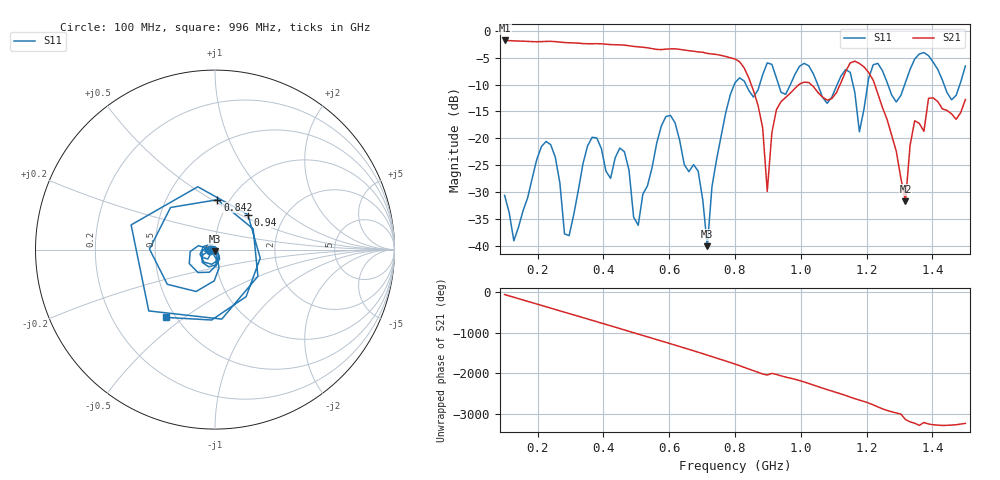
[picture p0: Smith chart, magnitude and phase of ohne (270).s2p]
! NanoVNA-App
! Date: 2025-09-25 14:22:54
! Start: 100MHz Stop: 1,5GHz Points: 101
! S-Parameter data: F S11 S21 S12 S22
# Hz S RI R 50
!  Frequency  S11_Real  S11_Imag  S21_Real  S21_Imag  S12_Real  S12_Imag  S22_Real  S22_Imag
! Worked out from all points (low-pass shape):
!   101 points, 100 MHz to 1.5 GHz, reference 50 ohm
!   highest |S21| = -1.79 dB at 100 MHz (marker M1); lowest = -31.8 dB at 1.318 GHz (marker M2)
!   |S21| within 3 dB of the highest: start of sweep to 772.7 MHz
!   lowest |S11| = -40.1 dB at 716 MHz (marker M3), VSWR 1.02, Z = 49.8 - j0.971 ohm
!   |S11| at or under -10 dB: start of sweep to 797.8 MHz; 833.2 MHz to 875 MHz (41.79 MHz wide, 4.89 % of centre); 1.051 GHz to 1.111 GHz (59.19 MHz wide, 5.48 % of centre) (the widest 3 of 7)
!   S12 and S22 are empty: the file has one direction only
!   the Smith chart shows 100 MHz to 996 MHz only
!   S11 on the Smith chart (normalised r, x): 100 MHz: 0.94, -0.01; 842 MHz: 0.88, +0.53; 940 MHz: 1.32, +0.55; 996 MHz: 0.44, -0.43
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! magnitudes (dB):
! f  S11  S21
! 100 MHz  -30.6  -1.8
! 128 MHz  -39.1  -1.9
! 226 MHz  -20.6  -2.0
! 296 MHz  -38.1  -2.2
! 338 MHz  -24.8  -2.4
! 464 MHz  -22.5  -2.7
! 506 MHz  -36.2  -3.0
! 576 MHz  -17.7  -3.5
! 688 MHz  -26.1  -3.9
! 716 MHz  -40.1  -4.2
! 800 MHz  -9.7  -5.2
! 842 MHz  -11.1  -8.8
! 898 MHz  -6.0  -29.9
! 940 MHz  -11.5  -13.2
! 996 MHz  -6.6  -9.9
! 1.038 GHz  -8.0  -10.4
! 1.178 GHz  -18.8  -6.1
! 1.22 GHz  -6.3  -9.2
! 1.276 GHz  -11.9  -19.4
! 1.318 GHz  -9.6  -31.8
! 1.346 GHz  -5.2  -16.7
! 1.5 GHz  -6.5  -12.8
